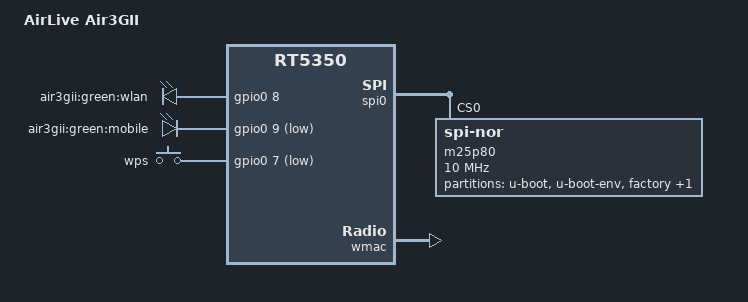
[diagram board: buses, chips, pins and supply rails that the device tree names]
/dts-v1/;

#include "rt5350.dtsi"

/ {
	compatible = "AIR3GII", "ralink,rt5350-soc";
	model = "AirLive Air3GII";

	gpio-leds {
		compatible = "gpio-leds";

		wlan {
			label = "air3gii:green:wlan";
			gpios = <&gpio0 8 0>;
		};

		mobile {
			label = "air3gii:green:mobile";
			gpios = <&gpio0 9 1>;
		};
	};

	gpio-keys-polled {
		compatible = "gpio-keys-polled";
		#address-cells = <1>;
		#size-cells = <0>;
		poll-interval = <20>;

		wps {
			label = "wps";
			gpios = <&gpio0 7 1>;
			linux,code = <0x211>;
		};
	};
};

&gpio0 {
	status = "okay";
};

&spi0 {
	status = "okay";

	m25p80@0 {
		#address-cells = <1>;
		#size-cells = <1>;
		compatible = "jedec,spi-nor";
		reg = <0>;
		linux,modalias = "m25p80", "en25q32b";
		spi-max-frequency = <10000000>;

		partition@0 {
			label = "u-boot";
			reg = <0x0 0x30000>;
			read-only;
		};

		partition@30000 {
			label = "u-boot-env";
			reg = <0x30000 0x10000>;
			read-only;
		};

		factory: partition@40000 {
			label = "factory";
			reg = <0x40000 0x10000>;
			read-only;
		};

		partition@50000 {
			label = "firmware";
			reg = <0x50000 0x3b0000>;
		};
	};
};

&pinctrl {
	state_default: pinctrl0 {
		gpio {
			ralink,group = "i2c", "jtag", "uartf";
			ralink,function = "gpio";
		};
	};
};

&ethernet {
	mtd-mac-address = <&factory 0x4>;
};

&esw {
	mediatek,portmap = <0x2f>;
};

&wmac {
	ralink,mtd-eeprom = <&factory 0>;
};
